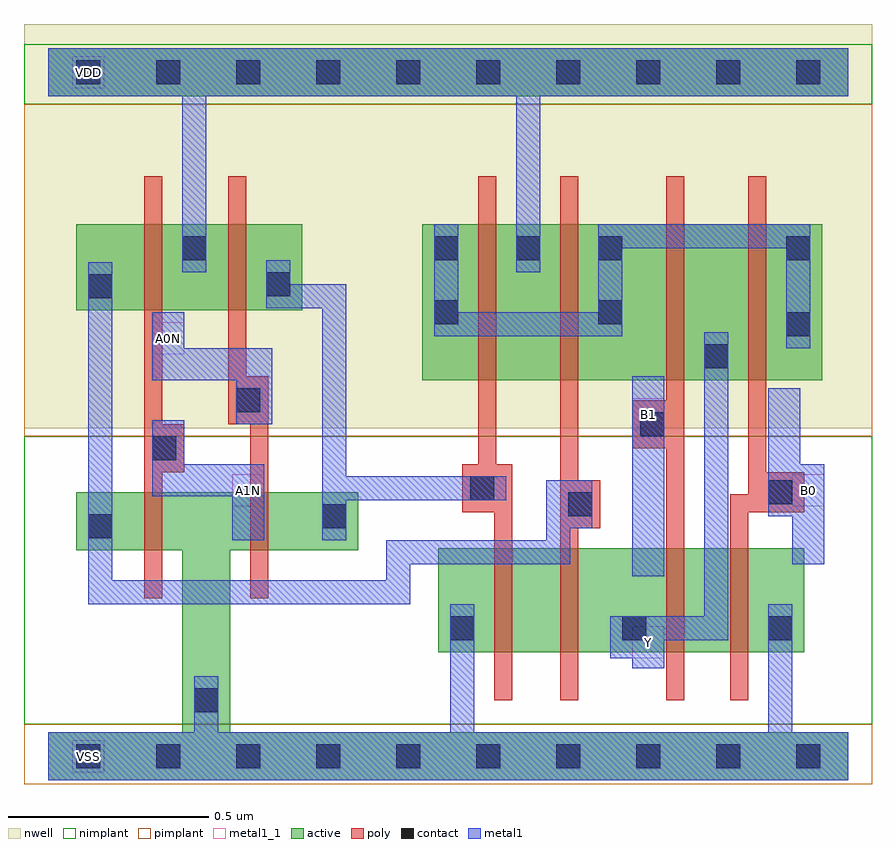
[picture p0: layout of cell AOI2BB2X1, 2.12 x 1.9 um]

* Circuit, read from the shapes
.subckt AOI2BB2X1 A0N A1N B0 B1 VDD VSS Y
M1 VSS A1N n1 VSS nfet w=0.145u l=0.045u
M2 n2 A0N VSS VSS nfet w=0.145u l=0.045u
M3 n3 n2 VSS VSS nfet w=0.26u l=0.045u
M4 Y n1 n3 VSS nfet w=0.26u l=0.045u
M5 n4 B1 Y VSS nfet w=0.26u l=0.045u
M6 VSS B0 n4 VSS nfet w=0.26u l=0.045u
M7 VDD A1N n1 VDD pfet w=0.215u l=0.045u
M8 n2 A0N VDD VDD pfet w=0.215u l=0.045u
M9 VDD n2 n5 VDD pfet w=0.39u l=0.045u
M10 n5 n1 VDD VDD pfet w=0.39u l=0.045u
M11 Y B1 n5 VDD pfet w=0.39u l=0.045u
M12 n5 B0 Y VDD pfet w=0.39u l=0.045u
.ends

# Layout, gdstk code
import gdstk
lib = gdstk.Library(unit=1e-6, precision=5e-10)
def R(c, l, rs):  # rectangles x0, y0, x1, y1
    for r in rs: c.add(gdstk.rectangle(r[:2], r[2:], *l))
def A(c, l, x, y, w, h, nx, ny, dx, dy):  # array of equal rectangles
    R(c, l, [(x+i*dx, y+j*dy, x+i*dx+w, y+j*dy+h) for i in range(nx) for j in range(ny)])
def P(c, l, *ps):  # polygons
    for p in ps: c.add(gdstk.Polygon(p, *l))
active = (1, 0)
nwell = (2, 0)
poly = (3, 0)
nimplant = (4, 0)
pimplant = (5, 0)
contact = (6, 0)
metal1 = (7, 0)
metal1_1 = (7, 1)

aoi2bb2x1 = lib.new_cell('AOI2BB2X1')
R(aoi2bb2x1, active, [(0.975,0.26,1.89,0.52), (0.935,0.94,1.935,1.33), (0.07,1.115,0.635,1.33), (0,1.65,2,1.77)])
P(aoi2bb2x1, active, [(0.07,0.66),(0.775,0.66),(0.775,0.515),(0.455,0.515),(0.455,0.06),(2,0.06),(2,-0.06),(0,-0.06),(0,0.06),(0.335,0.06),(0.335,0.515),(0.07,0.515)])
R(aoi2bb2x1, nwell, [(-0.06,0.82,2.06,1.83)])
P(aoi2bb2x1, poly, [(0.24,1.45),(0.285,1.45),(0.285,0.83),(0.34,0.83),(0.34,0.71),(0.285,0.71),(0.285,0.395),(0.24,0.395)],
  [(0.45,1.45),(0.495,1.45),(0.495,0.95),(0.55,0.95),(0.55,0.395),(0.505,0.395),(0.505,0.83),(0.45,0.83)],
  [(1.075,1.45),(1.12,1.45),(1.12,0.73),(1.16,0.73),(1.16,0.14),(1.115,0.14),(1.115,0.61),(1.035,0.61),(1.035,0.73),(1.075,0.73)],
  [(1.28,1.45),(1.325,1.45),(1.325,0.69),(1.38,0.69),(1.38,0.57),(1.325,0.57),(1.325,0.14),(1.28,0.14)],
  [(1.545,1.45),(1.59,1.45),(1.59,0.14),(1.545,0.14),(1.545,0.77),(1.46,0.77),(1.46,0.89),(1.545,0.89)],
  [(1.75,1.45),(1.795,1.45),(1.795,0.71),(1.89,0.71),(1.89,0.61),(1.75,0.61),(1.75,0.14),(1.705,0.14),(1.705,0.655),(1.75,0.655)])
R(aoi2bb2x1, nimplant, [(-0.06,0.08,2.06,0.8), (-0.06,1.63,2.06,1.78)])
R(aoi2bb2x1, pimplant, [(-0.06,-0.07,2.06,0.08), (-0.06,0.8,2.06,1.63)])
A(aoi2bb2x1, contact, 0.07, -0.03, 0.06, 0.06, 10, 2, 0.2, 1.71)
A(aoi2bb2x1, contact, 0.965, 1.24, 0.06, 0.06, 3, 1, 0.205, 0)
R(aoi2bb2x1, contact, [(0.365,0.11,0.425,0.17), (1.005,0.29,1.065,0.35), (1.435,0.29,1.495,0.35), (1.8,0.29,1.86,0.35), (0.1,0.545,0.16,0.605), (0.685,0.57,0.745,0.63), (1.3,0.6,1.36,0.66), (1.8,0.63,1.86,0.69), (1.055,0.64,1.115,0.7), (0.26,0.74,0.32,0.8), (1.48,0.8,1.54,0.86), (0.47,0.86,0.53,0.92), (1.64,0.97,1.7,1.03), (1.845,1.05,1.905,1.11), (0.965,1.08,1.025,1.14), (1.375,1.08,1.435,1.14), (0.1,1.145,0.16,1.205), (0.545,1.15,0.605,1.21), (0.335,1.24,0.395,1.3), (1.845,1.24,1.905,1.3)])
R(aoi2bb2x1, metal1, [(1.46,0.45,1.54,0.95)])
P(aoi2bb2x1, metal1, [(0,1.77),(2,1.77),(2,1.65),(1.23,1.65),(1.23,1.21),(1.17,1.21),(1.17,1.65),(0.395,1.65),(0.395,1.21),(0.335,1.21),(0.335,1.65),(0,1.65)],
  [(0.1,1.235),(0.16,1.235),(0.16,0.44),(0.845,0.44),(0.845,0.54),(1.245,0.54),(1.245,0.69),(1.36,0.69),(1.36,0.57),(1.305,0.57),(1.305,0.48),(0.905,0.48),(0.905,0.38),(0.1,0.38)],
  [(0.965,1.33),(1.025,1.33),(1.025,1.11),(1.375,1.11),(1.375,1.33),(1.905,1.33),(1.905,1.02),(1.845,1.02),(1.845,1.27),(1.435,1.27),(1.435,1.05),(0.965,1.05)],
  [(0.545,1.24),(0.605,1.24),(0.605,1.18),(0.745,1.18),(0.745,0.7),(1.145,0.7),(1.145,0.64),(0.745,0.64),(0.745,0.54),(0.685,0.54),(0.685,1.12),(0.545,1.12)],
  [(0.26,1.11),(0.34,1.11),(0.34,1.02),(0.56,1.02),(0.56,0.83),(0.47,0.83),(0.47,0.94),(0.26,0.94)],
  [(1.64,1.06),(1.7,1.06),(1.7,0.29),(1.54,0.29),(1.54,0.22),(1.46,0.22),(1.46,0.245),(1.405,0.245),(1.405,0.35),(1.64,0.35)],
  [(0.26,0.84),(0.34,0.84),(0.34,0.73),(0.54,0.73),(0.54,0.54),(0.46,0.54),(0.46,0.65),(0.26,0.65)],
  [(1.8,0.92),(1.88,0.92),(1.88,0.73),(1.94,0.73),(1.94,0.48),(1.86,0.48),(1.86,0.6),(1.8,0.6)],
  [(0.365,0.2),(0.425,0.2),(0.425,0.06),(1.005,0.06),(1.005,0.38),(1.065,0.38),(1.065,0.06),(1.8,0.06),(1.8,0.38),(1.86,0.38),(1.86,0.06),(2,0.06),(2,-0.06),(0,-0.06),(0,0.06),(0.365,0.06)])
R(aoi2bb2x1, metal1_1, [(0.06,-0.04,0.14,0.04), (1.46,0.245,1.54,0.325), (0.46,0.625,0.54,0.705), (1.86,0.625,1.94,0.705), (1.46,0.815,1.54,0.895), (0.26,1.005,0.34,1.085), (0.06,1.67,0.14,1.75)])
aoi2bb2x1.add(gdstk.Label('B0', (1.9,0.665), layer=7, texttype=1))
aoi2bb2x1.add(gdstk.Label('B1', (1.5,0.855), layer=7, texttype=1))
aoi2bb2x1.add(gdstk.Label('A0N', (0.3,1.045), layer=7, texttype=1))
aoi2bb2x1.add(gdstk.Label('A1N', (0.5,0.665), layer=7, texttype=1))
aoi2bb2x1.add(gdstk.Label('Y', (1.5,0.285), layer=7, texttype=1))
aoi2bb2x1.add(gdstk.Label('VDD', (0.1,1.71), layer=7, texttype=1))
aoi2bb2x1.add(gdstk.Label('VSS', (0.1,0), layer=7, texttype=1))
aoi2bb2x1.add(gdstk.Label('AOI2BB2X1', (0,0), layer=63, texttype=0))

lib.write_gds('AOI2BB2X1.gds')
